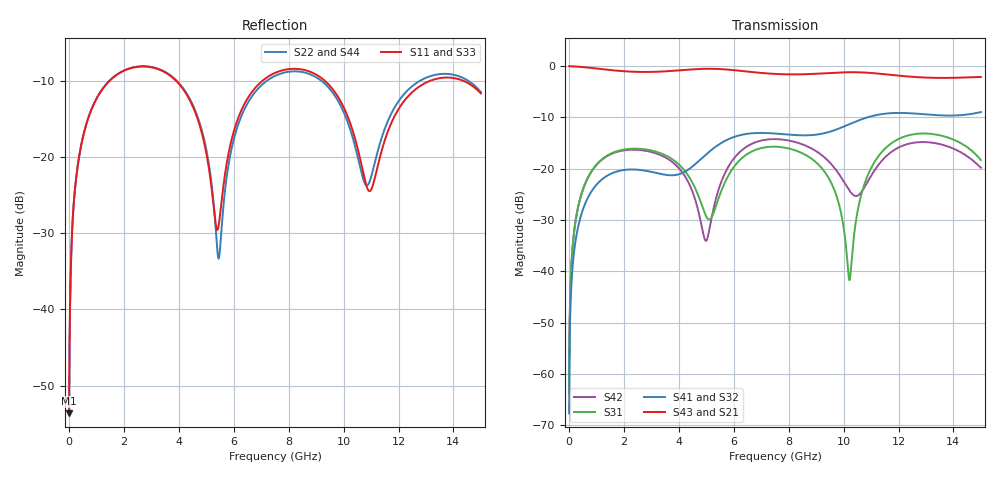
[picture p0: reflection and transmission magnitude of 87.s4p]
! Created with skrf 1.8.0 (http://scikit-rf.org).
# GHz S RI R 50.0
!freq ReS11 ImS11 ReS12 ImS12 ReS13 ImS13
! ReS14 ImS14
! ReS21 ImS21 ReS22 ImS22 ReS23 ImS23
! ReS24 ImS24
! ReS31 ImS31 ReS32 ImS32 ReS33 ImS33
! ReS34 ImS34
! ReS41 ImS41 ReS42 ImS42 ReS43 ImS43
! ReS44 ImS44
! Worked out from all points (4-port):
!   2499 points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, 5 MHz to 15 GHz, reference 50 ohm
!   strongest paths, dB at 5 MHz, 3.476 GHz, 7.19 GHz, 11.1 GHz, 15 GHz:
!     S43: 0.0, -1.0, -1.4, -1.4, -2.1
!     S21: 0.0, -1.0, -1.4, -1.4, -2.1
!     S41: -67.6, -21.1, -13.0, -9.7, -9.0
!     S32: -67.6, -21.2, -13.1, -9.6, -8.9
!     S31: -63.7, -17.3, -15.8, -18.9, -18.3
!     S42: -63.7, -17.7, -14.3, -20.6, -19.8
!   lowest |S11| = -53.6 dB at 5 MHz (marker M1), VSWR 1.00, Z = 50.2 + j0.126 ohm
!   |S11| at or under -10 dB: start of sweep to 1.474 GHz; 3.903 GHz to 7.04 GHz (3.137 GHz wide, 57.3 % of centre); 9.32 GHz to 13.15 GHz (3.826 GHz wide, 34.1 % of centre) (the widest 3 of 4)
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0.005  0.00165 0.00126  0.9983 -0.00322  8.29e-05 0.000647  -8.05e-05 -0.000407
       0.9983 -0.00322  0.00165 0.00126  -8.05e-05 -0.000407  8.27e-05 0.000647
       8.29e-05 0.000647  -8.05e-05 -0.000407  0.00165 0.00126  0.9983 -0.00322
       -8.05e-05 -0.000407  8.27e-05 0.000647  0.9983 -0.00322  0.00165 0.00126
0.3126303  0.0243 0.0827  0.9667 -0.2002  0.0113 0.0384  -0.00923 -0.0239
           0.9667 -0.2002  0.0244 0.0827  -0.00923 -0.0239  0.0109 0.0385
           0.0113 0.0384  -0.00923 -0.0239  0.0244 0.0827  0.9667 -0.2002
           -0.00923 -0.0239  0.0109 0.0385  0.9667 -0.2002  0.0244 0.0827
1.519383  0.2661 0.1812  0.5572 -0.7252  0.1276 0.0581  -0.0889 -0.00753
          0.5572 -0.7252  0.2679 0.18  -0.0889 -0.00756  0.1224 0.065
          0.1276 0.0581  -0.0889 -0.00756  0.2661 0.1811  0.5573 -0.7252
          -0.0889 -0.00753  0.1224 0.065  0.5573 -0.7252  0.2678 0.18
5.277199  0.0348 -0.0299  -0.9287 -0.1477  -0.0297 0.0236  -0.0213 0.1578
          -0.9287 -0.1477  0.0239 -0.0412  -0.0218 0.1577  0.0248 0.0343
          -0.0297 0.0236  -0.0218 0.1577  0.0351 -0.0288  -0.9287 -0.1476
          -0.0213 0.1578  0.0248 0.0343  -0.9287 -0.1476  0.0232 -0.0402
8.441017  0.3738 -0.0473  0.0158 0.8311  0.1299 -0.0618  0.2014 -0.0657
          0.0158 0.8311  0.3614 -0.0323  0.2011 -0.0643  0.1327 -0.1143
          0.1299 -0.0618  0.2011 -0.0643  0.3735 -0.049  0.0149 0.8313
          0.2014 -0.0657  0.1327 -0.1143  0.0149 0.8313  0.3608 -0.0295
10.2105  0.1114 -0.1321  0.7391 0.4615  -0.00812 -0.00137  0.1367 -0.2348
         0.7391 0.4615  0.1105 -0.1126  0.1389 -0.2336  -0.0516 -0.0334
         -0.00812 -0.00137  0.1389 -0.2336  0.1072 -0.1315  0.7391 0.4623
         0.1367 -0.2348  -0.0516 -0.0334  0.7391 0.4623  0.1125 -0.1083
15  0.2326 -0.1199  -0.3992 -0.6775  -0.00576 -0.1214  -0.2945 0.2013
    -0.3992 -0.6775  0.2275 -0.1397  -0.2958 0.2  -0.0143 -0.1012
    -0.00576 -0.1214  -0.2958 0.2  0.2441 -0.116  -0.3924 -0.6789
    -0.2945 0.2013  -0.0143 -0.1012  -0.3924 -0.6789  0.2315 -0.1481
